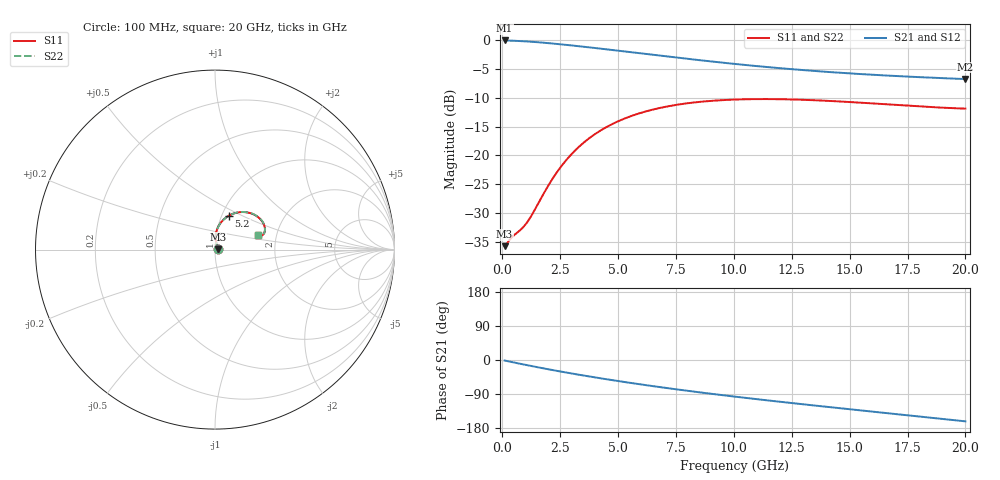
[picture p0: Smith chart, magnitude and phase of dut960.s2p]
! Touchstone file exported from HFSS 2024.1.0
!  File:  C:/UserFiles/LocalFiles/RDL_TSV_Batchsim/temp_RDL_TSV_960_1779967818.aedt
!  Generated:  07:44:54 PM May 28, 2026
!  Design:  RDL_TSV
!  Project:  temp_RDL_TSV_960_1779967818
!  Setup:  Setup1
!  Solution:  Sweep
! Variables:
!  dtsv = 7.03um
!  hbump = 3um
!  htsv = 52.54um
!  ldown = 154.07um
!  lrdl = 510.36um
!  p = 40
!  p1 = 43.27um
!  rhole = 10um
!  subl = 2503.65um
!  t = 450um
!  tdown = 2.97um
!  trdl = 2.36um
!  viad = 10um
!  wdown = 20.13um
!  wrdl = 24.71um
!  xbump = 18um
# GHz S MA R 50.000000
! Terminal data exported
! Port[1] = TM1_1_T1
! Port[2] = TM1_4_T1
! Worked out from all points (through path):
!   200 points, 100 MHz to 20 GHz, reference 50 ohm
!   highest |S21| = -0.14 dB at 100 MHz (marker M1); lowest = -6.8 dB at 20 GHz (marker M2)
!   group delay of S21, straight-line fit = 21.5 ps
!   lowest |S11| = -35.7 dB at 100 MHz (marker M3), VSWR 1.03, Z = 51.7 + j0.279 ohm
!   |S11| at or under -10 dB: start of sweep to end of sweep
!   |S22| runs from -35.7 to -10.3 dB; largest |S21 - S12| = 1e-14
!   S11 on the Smith chart (normalised r, x): 100 MHz: 1.03, +0.01; 5.2 GHz: 1.08, +0.43; 20 GHz: 1.60, +0.28
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0.1  0.01648 9.4  0.9835 -1.3  0.9835 -1.3  0.01648 9.4
! Gamma 0 0 0 0
! Port Impedance 50 0 50 0
0.4  0.01954 28.3  0.9794 -5.3  0.9794 -5.3  0.01954 28.3
0.8  0.02292 47.1  0.9712 -10.3  0.9712 -10.3  0.02291 47.1
1  0.02533 57.1  0.9661 -12.8  0.9661 -12.8  0.02532 57.1
1.3  0.03126 70.5  0.9573 -16.4  0.9573 -16.4  0.03124 70.5
1.8  0.04741 83.5  0.94 -22.3  0.94 -22.3  0.0474 83.5
2.2  0.06434 87.0  0.9244 -26.9  0.9244 -26.9  0.06434 87.1
2.6  0.08328 87.1  0.9078 -31.3  0.9078 -31.3  0.08329 87.2
3  0.1032 85.5  0.8906 -35.6  0.8906 -35.6  0.1032 85.5
3.5  0.1283 82.1  0.8687 -40.8  0.8687 -40.8  0.1284 82.1
4.3  0.1668 75.4  0.8335 -48.8  0.8335 -48.8  0.1669 75.4
5.2  0.2051 67.5  0.7944 -57.4  0.7944 -57.4  0.2053 67.6
6  0.2337 60.8  0.7606 -64.6  0.7606 -64.6  0.234 60.9
6.8  0.2569 54.5  0.7282 -71.5  0.7282 -71.5  0.2572 54.6
8.4  0.2884 43.6  0.6688 -84.4  0.6688 -84.4  0.2888 43.7
10.1  0.304 34.2  0.615 -97.1  0.615 -97.1  0.3045 34.3
11.7  0.3064 27.4  0.5734 -108.2  0.5734 -108.2  0.307 27.5
13.4  0.3002 22.0  0.5378 -119.6  0.5378 -119.6  0.3008 22.1
15  0.2893 18.6  0.5111 -129.9  0.5111 -129.9  0.29 18.7
16.7  0.2754 16.9  0.4886 -140.8  0.4886 -140.8  0.2761 17.0
18.4  0.2623 17.1  0.4705 -151.6  0.4705 -151.6  0.2631 17.2
20  0.2538 18.9  0.4566 -161.9  0.4566 -161.9  0.2545 19.0
